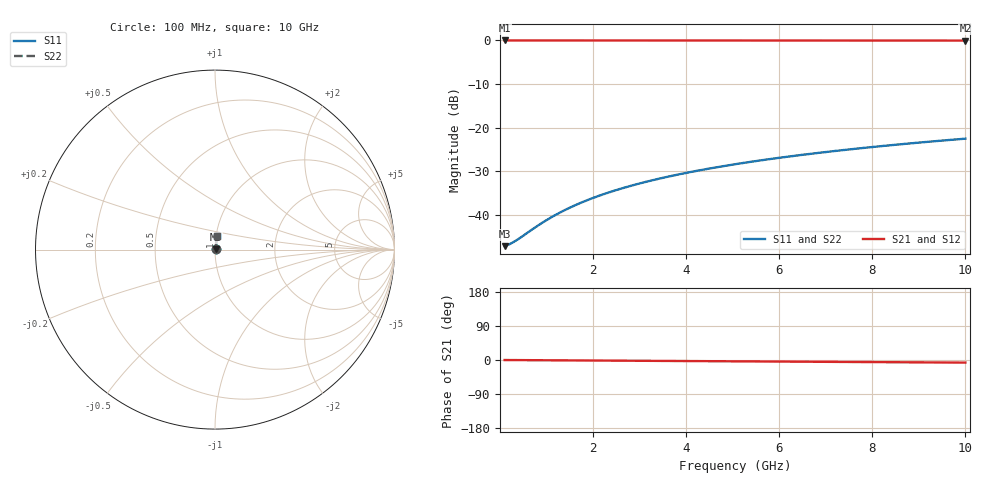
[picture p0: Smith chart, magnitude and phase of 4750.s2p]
# Hz S RI R 50.00
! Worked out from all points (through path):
!   100 points, 100 MHz to 10 GHz, reference 50 ohm
!   highest |S21| = -0.04 dB at 100 MHz (marker M1); lowest = -0.1 dB at 10 GHz (marker M2)
!   lowest |S11| = -47.2 dB at 100 MHz (marker M3), VSWR 1.01, Z = 50.4 + j0.0748 ohm
!   |S11| at or under -10 dB: start of sweep to end of sweep
!   |S22| runs from -47.2 to -22.5 dB; largest |S21 - S12| = 0
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1e8  0.00431 0.000742  0.9957 -0.0012  0.9957 -0.0012  0.00431 0.000742
2e8  0.00434 0.00148  0.9957 -0.0024  0.9957 -0.0024  0.00434 0.00148
3e8  0.00436 0.00223  0.9956 -0.0036  0.9956 -0.0036  0.00436 0.00223
4e8  0.00439 0.00297  0.9956 -0.0048  0.9956 -0.0048  0.00439 0.00297
8e8  0.00448 0.00593  0.9955 -0.00959  0.9955 -0.00959  0.00448 0.00593
1.1e9  0.00455 0.00816  0.9954 -0.0132  0.9954 -0.0132  0.00455 0.00816
1.4e9  0.00464 0.0104  0.9953 -0.0168  0.9953 -0.0168  0.00464 0.0104
1.6e9  0.00471 0.0119  0.9953 -0.0192  0.9953 -0.0192  0.00471 0.0119
1.8e9  0.00478 0.0133  0.9952 -0.0216  0.9952 -0.0216  0.00478 0.0133
2.1e9  0.0049 0.0156  0.995 -0.0252  0.995 -0.0252  0.0049 0.0156
2.5e9  0.00509 0.0185  0.9948 -0.03  0.9948 -0.03  0.00509 0.0185
2.9e9  0.0053 0.0215  0.9946 -0.0348  0.9946 -0.0348  0.0053 0.0215
3.4e9  0.0056 0.0252  0.9943 -0.0407  0.9943 -0.0407  0.0056 0.0252
3.8e9  0.00588 0.0281  0.994 -0.0455  0.994 -0.0455  0.00588 0.0281
4.2e9  0.00618 0.0311  0.9936 -0.0503  0.9936 -0.0503  0.00618 0.0311
4.6e9  0.00651 0.034  0.9933 -0.0551  0.9933 -0.0551  0.00651 0.034
5.1e9  0.00696 0.0377  0.9927 -0.061  0.9927 -0.061  0.00696 0.0377
5.9e9  0.00777 0.0436  0.9918 -0.0706  0.9918 -0.0706  0.00777 0.0436
6.7e9  0.00869 0.0494  0.9908 -0.0801  0.9908 -0.0801  0.00869 0.0494
7.5e9  0.00972 0.0553  0.9897 -0.0896  0.9897 -0.0896  0.00972 0.0553
8.4e9  0.011 0.0618  0.9882 -0.1003  0.9882 -0.1003  0.011 0.0618
1e10  0.0137 0.0733  0.9852 -0.1191  0.9852 -0.1191  0.0137 0.0733
